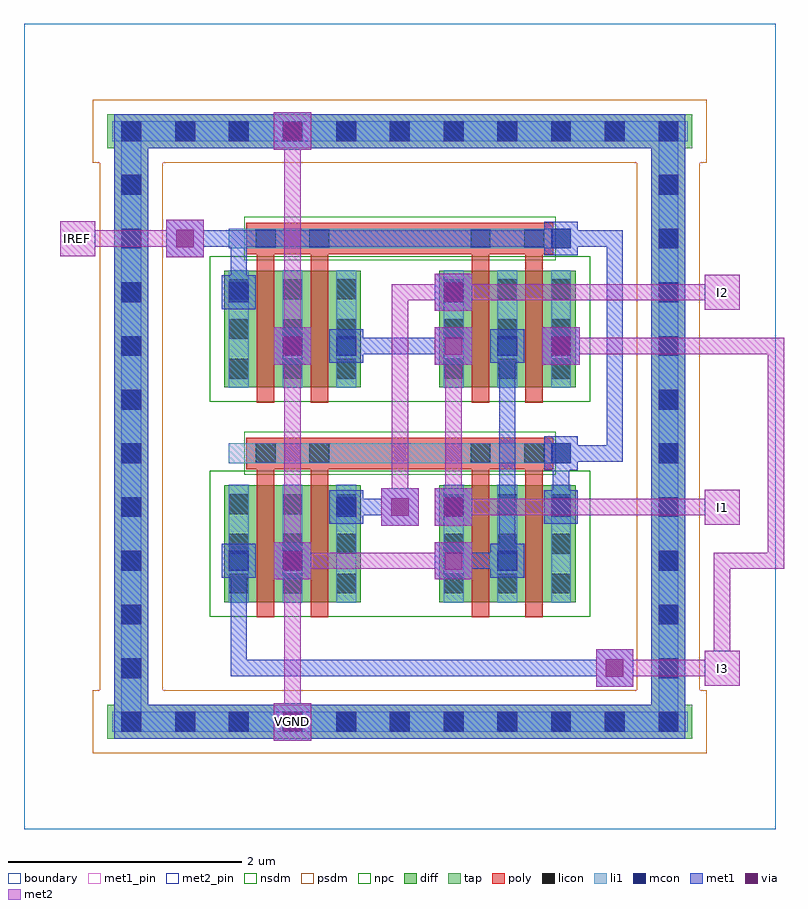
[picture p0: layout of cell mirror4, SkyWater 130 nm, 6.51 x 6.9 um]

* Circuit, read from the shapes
.subckt mirror4 I1 I2 I3 IREF VGND
XM1 VGND IREF I3 VGND sky130_fd_pr__nfet_01v8 w=1 l=0.15 m=2
XM2 VGND IREF IREF VGND sky130_fd_pr__nfet_01v8 w=1 l=0.15 m=2
XM3 I2 IREF VGND VGND sky130_fd_pr__nfet_01v8 w=1 l=0.15 m=2
XM4 I1 IREF VGND VGND sky130_fd_pr__nfet_01v8 w=1 l=0.15 m=2
.ends

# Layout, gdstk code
import gdstk
lib = gdstk.Library(unit=1e-6, precision=1e-09)
def R(c, l, rs):  # rectangles x0, y0, x1, y1
    for r in rs: c.add(gdstk.rectangle(r[:2], r[2:], *l))
def A(c, l, x, y, w, h, nx, ny, dx, dy):  # array of equal rectangles
    R(c, l, [(x+i*dx, y+j*dy, x+i*dx+w, y+j*dy+h) for i in range(nx) for j in range(ny)])
diff = (65, 20)
tap = (65, 44)
poly = (66, 20)
licon = (66, 44)
li1 = (67, 20)
mcon = (67, 44)
met1_pin = (68, 16)
met1 = (68, 20)
via = (68, 44)
met2_pin = (69, 16)
met2 = (69, 20)
nsdm = (93, 44)
psdm = (94, 20)
npc = (95, 20)
boundary = (235, 4)

mirror4 = lib.new_cell('mirror4')
R(mirror4, diff, [(1.715,1.945,2.885,2.945), (3.555,1.945,4.725,2.945), (1.715,3.785,2.885,4.785), (3.555,3.785,4.725,4.785)])
R(mirror4, tap, [(0.715,0.775,5.725,1.065), (0.775,0.775,1.065,6.125), (5.375,0.775,5.665,6.125), (0.715,5.835,5.725,6.125)])
R(mirror4, poly, [(1.995,1.815,2.145,3.22), (2.455,1.815,2.605,3.22), (3.835,1.815,3.985,3.22), (4.295,1.815,4.445,3.22), (1.905,3.085,4.535,3.355), (1.995,3.655,2.145,5.06), (2.455,3.655,2.605,5.06), (3.835,3.655,3.985,5.06), (4.295,3.655,4.445,5.06), (1.905,4.925,4.535,5.195)])
A(mirror4, licon, 0.835, 0.835, 0.17, 0.17, 11, 2, 0.46, 5.06)
A(mirror4, licon, 0.835, 1.295, 0.17, 0.17, 1, 10, 0, 0.46)
A(mirror4, licon, 5.435, 1.295, 0.17, 0.17, 1, 10, 0, 0.46)
A(mirror4, licon, 1.755, 2.02, 0.17, 0.17, 3, 3, 0.46, 0.34)
A(mirror4, licon, 3.595, 2.02, 0.17, 0.17, 3, 3, 0.46, 0.34)
A(mirror4, licon, 1.755, 3.86, 0.17, 0.17, 3, 3, 0.46, 0.34)
A(mirror4, licon, 3.595, 3.86, 0.17, 0.17, 3, 3, 0.46, 0.34)
R(mirror4, licon, [(1.985,3.135,2.155,3.305), (2.445,3.135,2.615,3.305), (3.825,3.135,3.995,3.305), (4.285,3.135,4.455,3.305), (1.985,4.975,2.155,5.145), (2.445,4.975,2.615,5.145), (3.825,4.975,3.995,5.145), (4.285,4.975,4.455,5.145)])
A(mirror4, li1, 1.755, 1.94, 0.17, 1.01, 3, 2, 0.46, 1.84)
A(mirror4, li1, 3.595, 1.94, 0.17, 1.01, 3, 2, 0.46, 1.84)
R(mirror4, li1, [(0.755,0.835,5.685,1.005), (0.835,0.835,1.005,6.065), (5.435,0.835,5.605,6.065), (1.755,3.135,4.685,3.305), (1.755,4.975,4.685,5.145), (0.755,5.895,5.685,6.065)])
A(mirror4, mcon, 0.835, 0.835, 0.17, 0.17, 11, 2, 0.46, 5.06)
A(mirror4, mcon, 0.835, 1.295, 0.17, 0.17, 1, 10, 0, 0.46)
A(mirror4, mcon, 5.435, 1.295, 0.17, 0.17, 1, 3, 0, 0.46)
A(mirror4, mcon, 2.675, 2.675, 0.17, 0.17, 4, 1, 0.92, 0)
A(mirror4, mcon, 4.515, 3.135, 0.17, 0.17, 1, 3, 0, 0.92)
A(mirror4, mcon, 5.435, 3.135, 0.17, 0.17, 1, 3, 0, 0.46)
A(mirror4, mcon, 1.755, 4.515, 0.17, 0.17, 3, 1, 1.84, 0)
R(mirror4, mcon, [(1.755,2.215,1.925,2.385), (2.215,2.215,2.385,2.385), (4.055,2.215,4.225,2.385), (2.215,4.055,2.385,4.225), (2.675,4.055,2.845,4.225), (4.055,4.055,4.225,4.225), (5.435,4.975,5.605,5.145), (5.435,5.435,5.605,5.605)])
R(mirror4, met1_pin, [(2.23,0.85,2.37,0.99)])
A(mirror4, met1, 2.14, 2.14, 0.32, 0.32, 1, 3, 0, 1.84)
A(mirror4, met1, 2.615, 2.615, 0.29, 0.29, 3, 1, 0.92, 0)
A(mirror4, met1, 4.455, 3.075, 0.29, 0.29, 1, 3, 0, 0.92)
R(mirror4, met1, [(2.14,0.76,2.46,1.08), (0.775,0.775,5.665,1.065), (0.775,0.775,1.065,6.125), (5.375,0.775,5.665,6.125), (2.23,0.85,2.37,0.99), (4.9,1.22,5.22,1.54), (1.77,1.31,1.91,2.37), (1.77,1.31,5.13,1.45), (3.52,2.14,3.84,2.46), (1.695,2.155,1.985,2.445), (2.155,2.155,2.445,2.445), (3.995,2.155,4.285,2.445), (3.61,2.23,4.21,2.37), (4.07,2.23,4.21,4.21), (3.06,2.6,3.38,2.92), (3.52,2.6,3.84,2.92), (2.69,2.69,3.29,2.83), (4.53,2.69,4.67,3.29), (4.53,3.15,5.13,3.29), (4.99,3.15,5.13,5.13), (3.52,3.98,3.84,4.3), (4.44,3.98,4.76,4.3), (2.155,3.995,2.445,4.285), (2.615,3.995,2.905,4.285), (3.995,3.995,4.285,4.285), (2.69,4.07,3.75,4.21), (3.52,4.44,3.84,4.76), (1.695,4.455,1.985,4.745), (3.535,4.455,3.825,4.745), (1.77,4.53,1.91,5.13), (1.22,4.9,1.54,5.22), (1.31,4.99,1.91,5.13), (1.77,4.99,4.67,5.13), (4.53,4.99,5.13,5.13), (0.775,5.835,5.665,6.125), (2.23,5.91,2.37,6.05)])
A(mirror4, via, 2.225, 2.225, 0.15, 0.15, 1, 3, 0, 1.84)
R(mirror4, via, [(2.225,0.845,2.375,0.995), (4.985,1.305,5.135,1.455), (3.605,2.225,3.755,2.375), (3.145,2.685,3.295,2.835), (3.605,2.685,3.755,2.835), (3.605,4.065,3.755,4.215), (4.525,4.065,4.675,4.215), (3.605,4.525,3.755,4.675), (1.305,4.985,1.455,5.135)])
R(mirror4, met2_pin, [(5.83,1.23,6.13,1.53), (5.83,2.61,6.13,2.91), (5.83,4.45,6.13,4.75), (0.31,4.91,0.61,5.21)])
A(mirror4, met2, 2.14, 2.14, 0.32, 0.32, 1, 3, 0, 1.84)
R(mirror4, met2, [(2.14,0.76,2.46,1.08), (2.23,0.85,2.37,2.37), (4.9,1.22,5.22,1.54), (5.83,1.23,6.13,1.53), (4.99,1.31,6.05,1.45), (5.91,1.31,6.05,1.45), (5.91,1.31,6.05,2.37), (3.52,2.14,3.84,2.46), (2.23,2.23,2.37,4.21), (2.23,2.23,3.75,2.37), (5.91,2.23,6.51,2.37), (6.37,2.23,6.51,4.21), (3.06,2.6,3.38,2.92), (3.52,2.6,3.84,2.92), (5.83,2.61,6.13,2.91), (3.15,2.69,3.29,4.67), (3.61,2.69,6.05,2.83), (3.61,2.69,3.75,4.21), (5.91,2.69,6.05,2.83), (3.52,3.98,3.84,4.3), (4.44,3.98,4.76,4.3), (2.23,4.07,2.37,6.05), (4.53,4.07,6.51,4.21), (3.52,4.44,3.84,4.76), (5.83,4.45,6.13,4.75), (3.15,4.53,3.75,4.67), (3.61,4.53,6.05,4.67), (5.91,4.53,6.05,4.67), (1.22,4.9,1.54,5.22), (0.31,4.91,0.61,5.21), (0.39,4.99,0.53,5.13), (0.39,4.99,1.45,5.13)])
R(mirror4, nsdm, [(1.59,1.82,4.85,3.07), (1.59,3.66,4.85,4.91)])
R(mirror4, psdm, [(0.59,0.65,5.85,1.19), (0.65,1.19,1.19,5.71), (5.25,1.19,5.79,5.71), (0.59,5.71,5.85,6.25)])
R(mirror4, npc, [(1.885,3.035,4.555,3.405), (1.885,4.875,4.555,5.245)])
R(mirror4, boundary, [(0,0,6.44,6.9)])
mirror4.add(gdstk.Label('VGND', (2.3,0.92), layer=68, texttype=5))
mirror4.add(gdstk.Label('IREF', (0.46,5.06), layer=69, texttype=5))
mirror4.add(gdstk.Label('I1', (5.98,2.76), layer=69, texttype=5))
mirror4.add(gdstk.Label('I2', (5.98,4.6), layer=69, texttype=5))
mirror4.add(gdstk.Label('I3', (5.98,1.38), layer=69, texttype=5))
mirror4.add(gdstk.Label('VGND', (2.3,0.92), layer=68, texttype=16))
mirror4.add(gdstk.Label('IREF', (0.46,5.06), layer=69, texttype=16))
mirror4.add(gdstk.Label('I1', (5.98,2.76), layer=69, texttype=16))
mirror4.add(gdstk.Label('I2', (5.98,4.6), layer=69, texttype=16))
mirror4.add(gdstk.Label('I3', (5.98,1.38), layer=69, texttype=16))

lib.write_gds('mirror4.gds')
